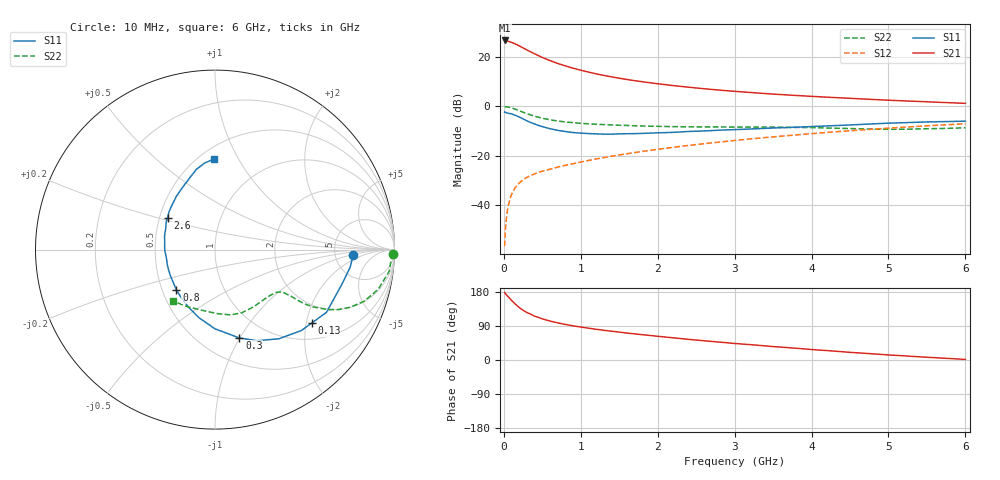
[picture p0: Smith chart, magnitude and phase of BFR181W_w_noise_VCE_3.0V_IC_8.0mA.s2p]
! Infineon Technologies  Discrete & RF Semiconductors
! BFR181W
! VCE =  3.0 V,  IC =  8.0 mA
! Common Emitter S-Parameters:  Jan 2017
# GHz  S  MA  R  50
!  f  S11  S21  S12  S22
! GHz  MAG  ANG  MAG  ANG  MAG  ANG  MAG  ANG
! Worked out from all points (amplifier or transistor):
!   77 points, 10 MHz to 6 GHz, reference 50 ohm
!   highest |S21| = 26.7 dB at 10 MHz (marker M1)
!   |S21| within 3 dB of that: start of sweep to 249.8 MHz
!   unconditionally stable (mu >= 1): 1.065 GHz to 3.068 GHz
!   at 130 MHz: K = 0.24, MSG = 29.7 dB, |S12| = -33.8 dB
!   at 2.2 GHz: K = 1.07, MAG = 10.9 dB, |S12| = -16.5 dB
!   at 6 GHz: K = 0.85, MSG = 4.1 dB, |S12| = -7.0 dB
!   lowest NFmin = 1.14 dB at 450 MHz
!   S11 on the Smith chart (normalised r, x): 10 MHz: 7.55, -1.10; 130 MHz: 1.42, -2.15; 300 MHz: 0.75, -0.99; 800 MHz: 0.59, -0.29; 2.6 GHz: 0.55, +0.22; 6 GHz: 0.59, +0.79
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0.01  0.7704 -2.2  21.5 178.4  0.0015 89.6  0.9942 -1.4
0.02  0.7596 -7.4  21.4 175.1  0.0032 101.8  0.9842 -2.7
0.05  0.7337 -15.0  20.86 168.3  0.0086 80.3  0.9779 -7.1
0.1  0.7129 -29.3  19.75 157.1  0.0166 76.3  0.9357 -13.7
0.13  0.6761 -37.3  18.82 151.4  0.0204 72.8  0.9009 -16.9
0.15  0.6596 -43.1  18.31 147.3  0.023 71.1  0.8793 -19.1
0.2  0.6111 -54.4  16.7 138.5  0.0284 66.9  0.8189 -23.1
0.25  0.5589 -65.3  15.22 131.2  0.0331 63.5  0.7631 -26.0
0.3  0.5105 -74.6  13.79 125.2  0.0368 61.1  0.7119 -28.0
0.4  0.4417 -90.0  11.54 115.7  0.0434 59.6  0.6328 -30.3
0.5  0.3904 -103.1  9.746 108.6  0.0491 59.1  0.5769 -31.3
0.6  0.3541 -114.3  8.423 102.8  0.0539 59.2  0.5368 -31.5
0.7  0.3282 -124.7  7.381 98.0  0.0593 60.5  0.5073 -31.5
0.8  0.311 -133.8  6.582 93.8  0.0646 61.7  0.4854 -31.6
1.1  0.2827 -155.9  4.938 84.0  0.0809 63.4  0.4454 -32.3
1.5  0.279 -177.7  3.714 73.6  0.1046 64.8  0.4157 -35.2
2.1  0.2954 159.7  2.749 60.6  0.1423 65.2  0.3931 -43.1
2.6  0.3191 146.0  2.276 50.8  0.1761 64.0  0.3849 -51.7
3.1  0.3443 134.2  1.965 42.1  0.2123 61.9  0.3819 -60.4
4.1  0.3971 115.8  1.566 26.3  0.2894 55.7  0.3695 -78.7
5.1  0.4637 101.8  1.314 12.2  0.3713 47.5  0.3456 -104.5
6  0.5036 90.9  1.152 1.5  0.4465 39.0  0.3702 -129.5
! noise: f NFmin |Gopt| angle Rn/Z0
0.45  1.14  0.2  16  0.21
0.9  1.18  0.19  31  0.21
1.9  1.6  0.07  92  0.2
2.4  1.76  0.06  100  0.23
